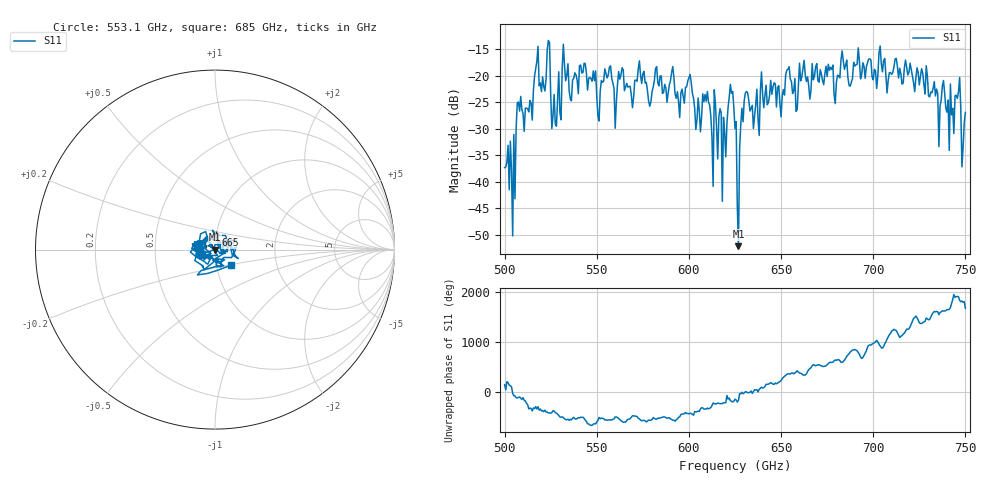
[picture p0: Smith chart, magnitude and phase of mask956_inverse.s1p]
!Created with skrf (http://scikit-rf.org).
# GHz S MA R 50.0
!freq magS11 angS11
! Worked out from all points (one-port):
!   401 points, 500 GHz to 750 GHz, reference 50 ohm
!   lowest |S11| = -52.2 dB at 626.9 GHz (marker M1), VSWR 1.00, Z = 49.8 - j0.0611 ohm
!   |S11| at or under -10 dB: start of sweep to end of sweep
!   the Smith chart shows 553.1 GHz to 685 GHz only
!   S11 on the Smith chart (normalised r, x): 553.1 GHz: 0.84, -0.04; 665 GHz: 0.99, +0.16; 685 GHz: 1.18, -0.21
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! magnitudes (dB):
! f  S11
! 500 GHz  -37.3
! 505 GHz  -31.1
! 507.5 GHz  -25.0
! 513.8 GHz  -24.7
! 516.9 GHz  -18.6
! 520.6 GHz  -20.2
! 523.8 GHz  -13.4
! 526.9 GHz  -23.5
! 531.2 GHz  -18.6
! 553.1 GHz  -21.2
! 562.5 GHz  -20.7
! 578.8 GHz  -25.8
! 590.6 GHz  -19.4
! 593.8 GHz  -23.0
! 600 GHz  -20.4
! 619.4 GHz  -30.7
! 623.1 GHz  -23.3
! 625 GHz  -30.0
! 626.9 GHz  -52.2
! 631.2 GHz  -23.0
! 656.2 GHz  -23.4
! 665 GHz  -21.9
! 685 GHz  -18.0
! 687.5 GHz  -22.0
! 718.8 GHz  -19.8
! 742.5 GHz  -27.4
! 745.6 GHz  -24.3
! 750 GHz  -26.9
